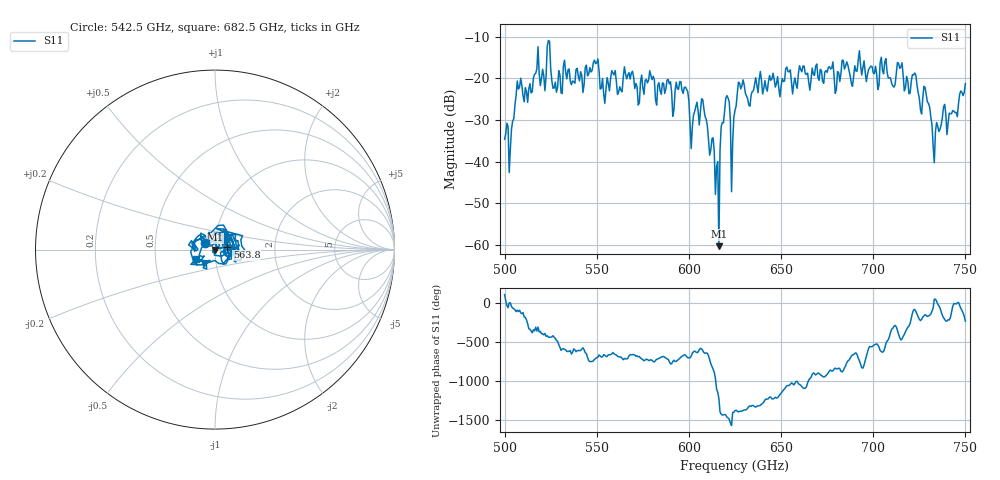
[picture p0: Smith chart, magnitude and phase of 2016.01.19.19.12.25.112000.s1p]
!Created with skrf (http://scikit-rf.org).
# GHz S RI R 50.0
!freq ReS11 ImS11
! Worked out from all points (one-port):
!   401 points, 500 GHz to 750 GHz, reference 50 ohm
!   lowest |S11| = -60.2 dB at 616.2 GHz (marker M1), VSWR 1.00, Z = 49.9 - j0.0642 ohm
!   |S11| at or under -10 dB: start of sweep to end of sweep
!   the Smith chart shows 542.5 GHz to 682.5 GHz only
!   S11 on the Smith chart (normalised r, x): 542.5 GHz: 0.89, +0.07; 563.8 GHz: 1.15, +0.03; 682.5 GHz: 0.81, -0.08
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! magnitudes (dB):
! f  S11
! 500 GHz  -34.6
! 503.8 GHz  -32.1
! 507.5 GHz  -22.5
! 523.8 GHz  -10.9
! 526.9 GHz  -22.3
! 531.2 GHz  -23.6
! 542.5 GHz  -23.4
! 549.4 GHz  -16.4
! 553.1 GHz  -20.0
! 562.5 GHz  -22.0
! 563.8 GHz  -23.2
! 593.8 GHz  -22.5
! 601.9 GHz  -31.5
! 608.1 GHz  -27.3
! 615 GHz  -41.2
! 616.2 GHz  -60.2
! 620.6 GHz  -24.1
! 623.1 GHz  -47.2
! 625 GHz  -27.7
! 628.1 GHz  -22.5
! 656.2 GHz  -23.7
! 682.5 GHz  -18.7
! 687.5 GHz  -19.4
! 714.4 GHz  -17.6
! 718.8 GHz  -20.6
! 728.8 GHz  -23.9
! 733.8 GHz  -32.7
! 750 GHz  -21.2
